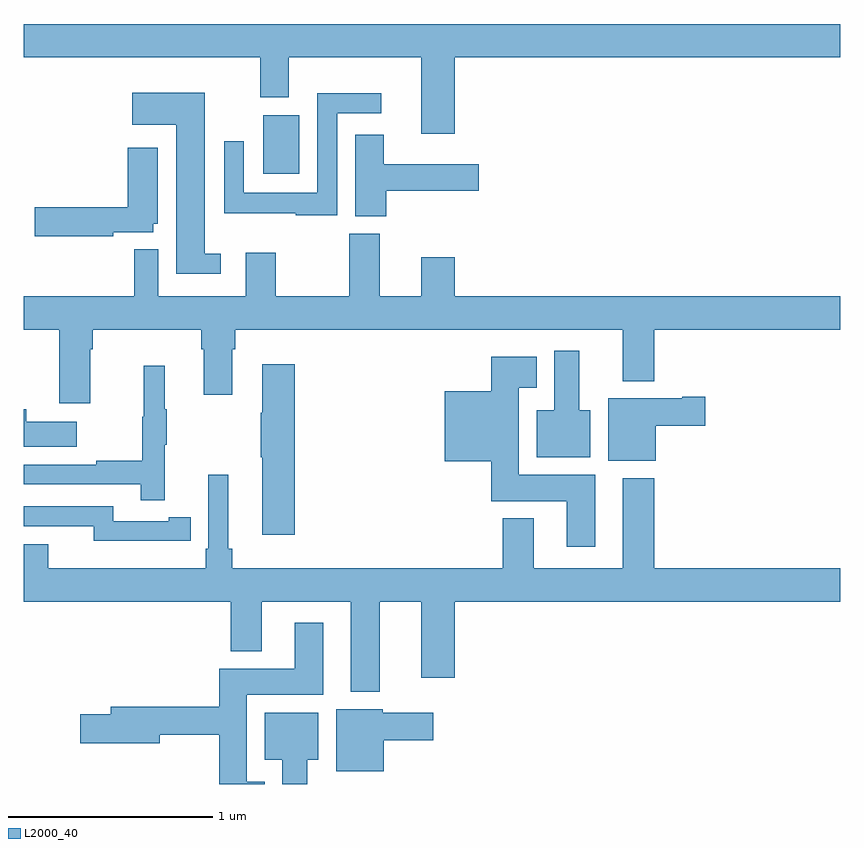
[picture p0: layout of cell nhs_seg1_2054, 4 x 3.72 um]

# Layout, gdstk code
import gdstk
lib = gdstk.Library(unit=1e-6, precision=1e-09)
def R(c, l, rs):  # rectangles x0, y0, x1, y1
    for r in rs: c.add(gdstk.rectangle(r[:2], r[2:], *l))
def P(c, l, *ps):  # polygons
    for p in ps: c.add(gdstk.Polygon(p, *l))
L2000_40 = (2000, 40)

nhs_seg1_2054 = lib.new_cell('nhs_seg1_2054')
R(nhs_seg1_2054, L2000_40, [(224.174,527.186,224.35,527.473)])
P(nhs_seg1_2054, L2000_40, [(225.112,527.756),(227,527.756),(227,527.92),(223,527.92),(223,527.756),(224.159,527.756),(224.159,527.562),(224.299,527.562),(224.299,527.756),(224.948,527.756),(224.948,527.382),(225.112,527.382)],
  [(223.966,526.796),(223.888,526.796),(223.888,527.584),(223.533,527.584),(223.533,527.426),(223.748,527.426),(223.748,526.698),(223.966,526.698)],
  [(224.535,527.484),(224.752,527.484),(224.752,527.581),(224.439,527.581),(224.439,527.095),(224.079,527.095),(224.079,527.347),(223.983,527.347),(223.983,526.994),(224.332,526.994),(224.332,526.984),(224.535,526.984)],
  [(224.777,527.104),(225.229,527.104),(225.229,527.233),(224.764,527.233),(224.764,527.377),(224.624,527.377),(224.624,526.978),(224.777,526.978)],
  [(223.44,526.901),(223.636,526.901),(223.636,526.941),(223.657,526.941),(223.657,527.314),(223.511,527.314),(223.511,527.024),(223.056,527.024),(223.056,526.882),(223.44,526.882)],
  [(225.112,526.777),(224.948,526.777),(224.948,526.588),(224.743,526.588),(224.743,526.893),(224.596,526.893),(224.596,526.588),(224.235,526.588),(224.235,526.801),(224.087,526.801),(224.087,526.588),(223.66,526.588),(223.66,526.816),(223.542,526.816),(223.542,526.588),(223,526.588),(223,526.424),(223.175,526.424),(223.175,526.062),(223.327,526.062),(223.327,526.328),(223.34,526.328),(223.34,526.424),(223.871,526.424),(223.871,526.328),(223.883,526.328),(223.883,526.104),(224.023,526.104),(224.023,526.328),(224.036,526.328),(224.036,526.424),(225.935,526.424),(225.935,526.172),(226.088,526.172),(226.088,526.424),(227,526.424),(227,526.588),(225.112,526.588)],
  [(225.775,526.03),(225.721,526.03),(225.721,526.321),(225.599,526.321),(225.599,526.03),(225.512,526.03),(225.512,525.8),(225.775,525.8)],
  [(225.799,525.712),(225.424,525.712),(225.424,526.139),(225.514,526.139),(225.514,526.291),(225.29,526.291),(225.29,526.123),(225.062,526.123),(225.062,525.779),(225.29,525.779),(225.29,525.584),(225.659,525.584),(225.659,525.36),(225.799,525.36)],
  [(224.327,526.255),(224.168,526.255),(224.168,526.016),(224.161,526.016),(224.161,525.799),(224.168,525.799),(224.168,525.42),(224.327,525.42)],
  [(223.691,525.859),(223.702,525.859),(223.702,526.033),(223.691,526.033),(223.691,526.246),(223.588,526.246),(223.588,525.996),(223.581,525.996),(223.581,525.782),(223.357,525.782),(223.357,525.762),(223,525.762),(223,525.666),(223.573,525.666),(223.573,525.588),(223.691,525.588)],
  [(226.096,525.953),(226.339,525.953),(226.339,526.095),(226.226,526.095),(226.226,526.087),(225.863,526.087),(225.863,525.782),(226.096,525.782)],
  [(223.261,525.973),(223.013,525.973),(223.013,526.033),(223,526.033),(223,525.851),(223.261,525.851)],
  [(224.743,525.092),(224.948,525.092),(224.948,524.718),(225.112,524.718),(225.112,525.092),(227,525.092),(227,525.256),(226.088,525.256),(226.088,525.697),(225.935,525.697),(225.935,525.256),(225.499,525.256),(225.499,525.499),(225.347,525.499),(225.347,525.256),(224.021,525.256),(224.021,525.352),(224.002,525.352),(224.002,525.712),(223.905,525.712),(223.905,525.352),(223.892,525.352),(223.892,525.256),(223.12,525.256),(223.12,525.373),(223,525.373),(223,525.092),(224.015,525.092),(224.015,524.849),(224.167,524.849),(224.167,525.092),(224.603,525.092),(224.603,524.651),(224.743,524.651)],
  [(223.712,525.39),(223.82,525.39),(223.82,525.506),(223.712,525.506),(223.712,525.486),(223.44,525.486),(223.44,525.558),(223,525.558),(223,525.462),(223.344,525.462),(223.344,525.389),(223.712,525.389)],
  [(224.182,524.209),(224.092,524.209),(224.092,524.636),(224.467,524.636),(224.467,524.989),(224.327,524.989),(224.327,524.764),(223.958,524.764),(223.958,524.576),(223.427,524.576),(223.427,524.54),(223.278,524.54),(223.278,524.398),(223.666,524.398),(223.666,524.44),(223.958,524.44),(223.958,524.199),(224.182,524.199)],
  [(224.764,524.414),(225.007,524.414),(225.007,524.548),(224.76,524.548),(224.76,524.566),(224.531,524.566),(224.531,524.261),(224.764,524.261)],
  [(224.389,524.318),(224.443,524.318),(224.443,524.548),(224.18,524.548),(224.18,524.318),(224.267,524.318),(224.267,524.199),(224.389,524.199)])

lib.write_gds('nhs_seg1_2054.gds')
